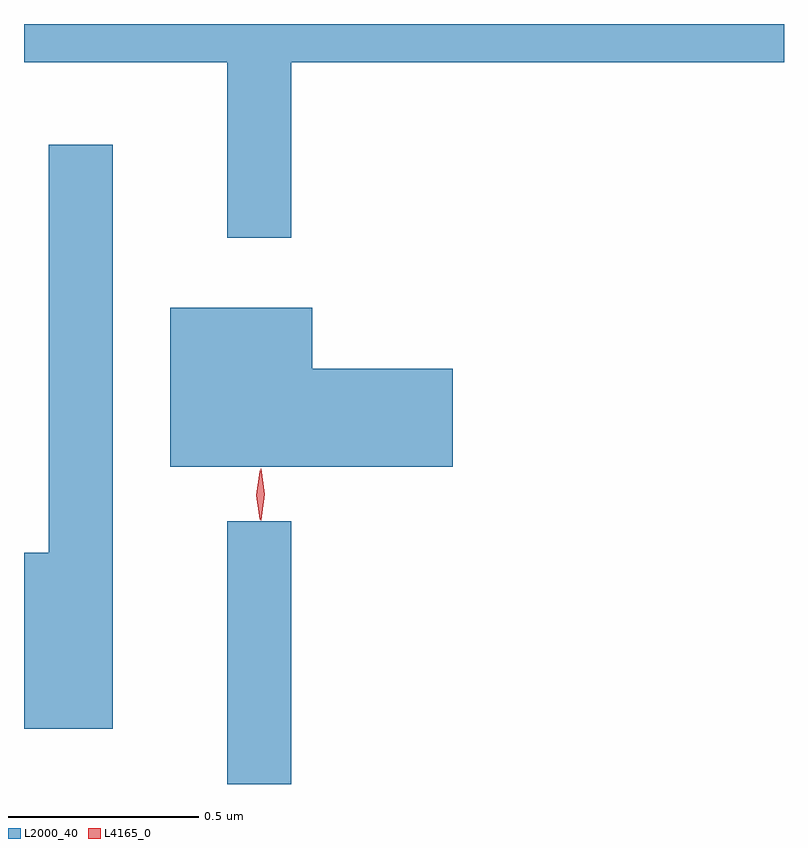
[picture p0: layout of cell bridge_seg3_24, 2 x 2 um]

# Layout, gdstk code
import gdstk
lib = gdstk.Library(unit=1e-6, precision=1e-09)
def R(c, l, rs):  # rectangles x0, y0, x1, y1
    for r in rs: c.add(gdstk.rectangle(r[:2], r[2:], *l))
def P(c, l, *ps):  # polygons
    for p in ps: c.add(gdstk.Polygon(p, *l))
L2000_40 = (2000, 40)
L4165_0 = (4165, 0)

bridge_seg3_24 = lib.new_cell('bridge_seg3_24')
R(bridge_seg3_24, L2000_40, [(1330.081,1177.396,1330.249,1178.088)])
P(bridge_seg3_24, L2000_40, [(1330.249,1179.296),(1331.546,1179.296),(1331.546,1179.396),(1329.546,1179.396),(1329.546,1179.296),(1330.081,1179.296),(1330.081,1178.833),(1330.249,1178.833)],
  [(1329.779,1179.078),(1329.611,1179.078),(1329.611,1178.004),(1329.546,1178.004),(1329.546,1177.541),(1329.779,1177.541)],
  [(1330.674,1178.489),(1330.304,1178.489),(1330.304,1178.649),(1329.931,1178.649),(1329.931,1178.231),(1330.674,1178.231)])
P(bridge_seg3_24, L4165_0, [(1330.169,1178.09),(1330.16,1178.158),(1330.169,1178.225),(1330.17,1178.226),(1330.17,1178.225),(1330.18,1178.158),(1330.17,1178.09),(1330.17,1178.09)],
  [(1330.167,1178.093),(1330.167,1178.093),(1330.157,1178.156),(1330.167,1178.219),(1330.167,1178.22),(1330.168,1178.219),(1330.177,1178.156),(1330.168,1178.093)])

lib.write_gds('bridge_seg3_24.gds')
